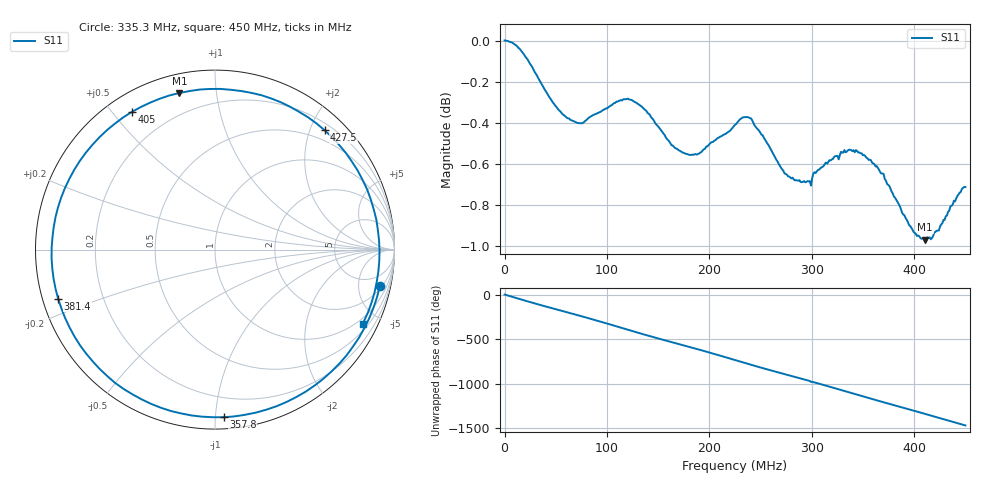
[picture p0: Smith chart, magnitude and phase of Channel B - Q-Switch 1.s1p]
! NanoVNA-App
! Date: 2026-10-05 11:14:25
! Start: 50kHz Stop: 450MHz Points: 401
! S-Parameter data: F S11
# Hz S RI R 50
!  Frequency  S11_Real  S11_Imag
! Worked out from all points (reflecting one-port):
!   401 points, 50 kHz to 450 MHz, reference 50 ohm
!   lowest |S11| = -1.0 dB at 410.6 MHz (marker M1), VSWR 17.98, Z = 4.55 + j39.7 ohm
!   phase of S11 starts at -0 deg and turns -1467 deg over the sweep
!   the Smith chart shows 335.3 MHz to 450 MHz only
!   S11 on the Smith chart (normalised r, x): 335.3 MHz: 2.44, -8.53; 357.8 MHz: 0.07, -1.05; 381.4 MHz: 0.04, -0.15; 405 MHz: 0.07, +0.56; 427.5 MHz: 0.31, +2.24; 450 MHz: 0.74, -4.07
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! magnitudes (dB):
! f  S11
! 50 kHz  0.0
! 16.92 MHz  -0.1
! 56.29 MHz  -0.4
! 75.42 MHz  -0.4
! 112.5 MHz  -0.3
! 122.7 MHz  -0.3
! 133.9 MHz  -0.3
! 168.8 MHz  -0.5
! 190.2 MHz  -0.5
! 225 MHz  -0.4
! 231.8 MHz  -0.4
! 239.6 MHz  -0.4
! 271.1 MHz  -0.6
! 281.3 MHz  -0.7
! 297 MHz  -0.7
! 315 MHz  -0.6
! 335.3 MHz  -0.5
! 337.5 MHz  -0.5
! 357.8 MHz  -0.6
! 367.9 MHz  -0.6
! 381.4 MHz  -0.8
! 393.8 MHz  -0.9
! 405 MHz  -1.0
! 410.6 MHz  -1.0
! 416.3 MHz  -1.0
! 427.5 MHz  -0.9
! 444.4 MHz  -0.7
! 450 MHz  -0.7
